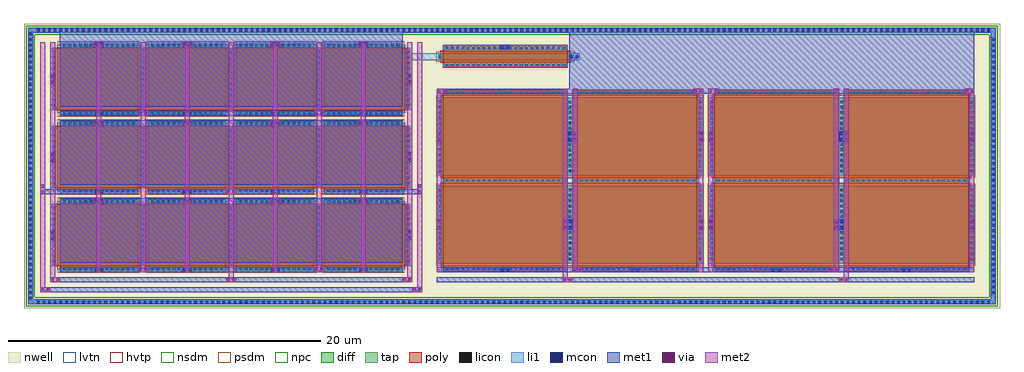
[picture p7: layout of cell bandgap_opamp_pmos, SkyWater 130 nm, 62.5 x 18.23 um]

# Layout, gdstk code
from math import pi, radians
import gdstk
lib = gdstk.Library(unit=1e-6, precision=5e-09)
def R(c, l, rs):  # rectangles x0, y0, x1, y1
    for r in rs: c.add(gdstk.rectangle(r[:2], r[2:], *l))
def A(c, l, x, y, w, h, nx, ny, dx, dy):  # array of equal rectangles
    R(c, l, [(x+i*dx, y+j*dy, x+i*dx+w, y+j*dy+h) for i in range(nx) for j in range(ny)])
nwell = (64, 20)
diff = (65, 20)
tap = (65, 44)
poly = (66, 20)
licon = (66, 44)
li1 = (67, 20)
mcon = (67, 44)
met1 = (68, 20)
via = (68, 44)
met2 = (69, 20)
hvtp = (78, 44)
nsdm = (93, 44)
psdm = (94, 20)
npc = (95, 20)
lvtn = (125, 44)

sky130_fd_pr__pfet_01v8_ = lib.new_cell('sky130_fd_pr__pfet_01v8_lvt_5-0_8-0')
R(sky130_fd_pr__pfet_01v8_, nwell, [(-4.47,-3,4.47,3)])
R(sky130_fd_pr__pfet_01v8_, diff, [(-4.29,-2.5,4.29,2.5)])
R(sky130_fd_pr__pfet_01v8_, poly, [(-4,-2.985,4,2.985)])
A(sky130_fd_pr__pfet_01v8_, licon, -3.825, -2.905, 0.17, 0.17, 23, 2, 0.34, 5.64)
A(sky130_fd_pr__pfet_01v8_, licon, -4.23, -2.295, 0.17, 0.17, 1, 14, 0, 0.34)
A(sky130_fd_pr__pfet_01v8_, licon, 4.06, -2.295, 0.17, 0.17, 1, 14, 0, 0.34)
R(sky130_fd_pr__pfet_01v8_, li1, [(-4,-2.905,4,-2.735), (-4.23,-2.52,-4.06,2.52), (4.06,-2.52,4.23,2.52), (-4,2.735,4,2.905)])
R(sky130_fd_pr__pfet_01v8_, psdm, [(-4.415,-2.625,4.415,2.625)])
R(sky130_fd_pr__pfet_01v8_, npc, [(-3.925,-3.005,3.925,-2.635), (-3.925,2.635,3.925,3.005)])
R(sky130_fd_pr__pfet_01v8_, lvtn, [(-4.18,-2.68,4.18,2.68)])

c_sky130_fd_pr__pfet_01v8_ = lib.new_cell('sky130_fd_pr__pfet_01v8_hvt_0-42_8-0')
R(c_sky130_fd_pr__pfet_01v8_, nwell, [(-4.47,-0.71,4.47,0.71)])
R(c_sky130_fd_pr__pfet_01v8_, diff, [(-4.29,-0.21,4.29,0.21)])
R(c_sky130_fd_pr__pfet_01v8_, poly, [(-4,-0.695,4,0.695)])
A(c_sky130_fd_pr__pfet_01v8_, licon, -3.825, -0.615, 0.17, 0.17, 23, 2, 0.34, 1.06)
R(c_sky130_fd_pr__pfet_01v8_, licon, [(-4.23,-0.085,-4.06,0.085), (4.06,-0.085,4.23,0.085)])
R(c_sky130_fd_pr__pfet_01v8_, li1, [(-4,-0.615,4,-0.445), (-4.23,-0.23,-4.06,0.23), (4.06,-0.23,4.23,0.23), (-4,0.445,4,0.615)])
R(c_sky130_fd_pr__pfet_01v8_, hvtp, [(-4.18,-0.39,4.18,0.39)])
R(c_sky130_fd_pr__pfet_01v8_, psdm, [(-4.415,-0.335,4.415,0.335)])
R(c_sky130_fd_pr__pfet_01v8_, npc, [(-3.925,-0.715,3.925,-0.345), (-3.925,0.345,3.925,0.715)])

c_sky130_fd_pr__pfet_01v8__ = lib.new_cell('sky130_fd_pr__pfet_01v8_lvt_mhwgxx')
R(c_sky130_fd_pr__pfet_01v8__, nwell, [(-2.47,-3,2.47,3)])
R(c_sky130_fd_pr__pfet_01v8__, diff, [(-2.29,-2.5,2.29,2.5)])
R(c_sky130_fd_pr__pfet_01v8__, poly, [(-2,-2.985,2,2.985)])
A(c_sky130_fd_pr__pfet_01v8__, licon, -1.785, -2.905, 0.17, 0.17, 11, 2, 0.34, 5.64)
A(c_sky130_fd_pr__pfet_01v8__, licon, -2.23, -2.295, 0.17, 0.17, 1, 14, 0, 0.34)
A(c_sky130_fd_pr__pfet_01v8__, licon, 2.06, -2.295, 0.17, 0.17, 1, 14, 0, 0.34)
R(c_sky130_fd_pr__pfet_01v8__, li1, [(-2,-2.905,2,-2.735), (-2.23,-2.52,-2.06,2.52), (2.06,-2.52,2.23,2.52), (-2,2.735,2,2.905)])
R(c_sky130_fd_pr__pfet_01v8__, psdm, [(-2.415,-2.625,2.415,2.625)])
R(c_sky130_fd_pr__pfet_01v8__, npc, [(-1.885,-3.005,1.885,-2.635), (-1.885,2.635,1.885,3.005)])
R(c_sky130_fd_pr__pfet_01v8__, lvtn, [(-2.18,-2.68,2.18,2.68)])

contact = lib.new_cell('contact')
R(contact, li1, [(-0.165,-0.345,0.165,0.345)])
R(contact, mcon, [(-0.085,-0.265,0.085,-0.095), (-0.085,0.095,0.085,0.265)])
R(contact, met1, [(-0.145,-0.325,0.145,0.325)])

contact_15 = lib.new_cell('contact$15')
R(contact_15, met1, [(-0.16,-0.32,0.16,0.32)])
R(contact_15, via, [(-0.075,-0.235,0.075,-0.085), (-0.075,0.085,0.075,0.235)])
R(contact_15, met2, [(-0.16,-0.32,0.16,0.32)])

bandgap_opamp_pmos = lib.new_cell('bandgap_opamp_pmos')
R(bandgap_opamp_pmos, nwell, [(-1.795,-2.22,60.7,16.01)])
A(bandgap_opamp_pmos, licon, -0.965, -1.895, 0.17, 0.17, 170, 2, 0.36, 17.4)
A(bandgap_opamp_pmos, licon, -1.46, -1.64, 0.17, 0.17, 1, 48, 0, 0.36)
A(bandgap_opamp_pmos, licon, 60.195, -1.3, 0.17, 0.17, 1, 46, 0, 0.36)
A(bandgap_opamp_pmos, li1, 0.485, 0.08, 5.04, 0.33, 3, 2, 5.64, 4.43)
A(bandgap_opamp_pmos, li1, -0.12, 0.47, 0.25, 4, 1, 3, 0, 5)
A(bandgap_opamp_pmos, li1, 22.8, 0.47, 0.25, 4, 1, 3, 0, 5)
A(bandgap_opamp_pmos, li1, 24.635, 0.625, 0.33, 5.04, 3, 2, 8.37, 5.64)
A(bandgap_opamp_pmos, li1, 42.005, 0.625, 0.33, 5.04, 3, 2, 8.37, 5.64)
A(bandgap_opamp_pmos, li1, 0.485, 5.08, 5.04, 0.33, 3, 2, 5.64, 4.43)
A(bandgap_opamp_pmos, li1, 0.485, 10.08, 5.04, 0.33, 3, 2, 5.64, 4.43)
R(bandgap_opamp_pmos, li1, [(17.405,0.08,22.45,0.41), (25.025,0.08,33.025,0.41), (33.315,0.08,41.315,0.41), (42.395,0.08,50.395,0.41), (50.685,0.08,58.685,0.41), (17.405,4.51,22.45,4.84), (17.405,5.08,22.45,5.41), (17.405,9.51,22.45,9.84), (17.405,10.08,22.45,10.41), (23.05,13.66,24.965,14.12), (33.255,13.66,33.775,14.12), (25.025,14.335,33.025,14.665), (17.405,14.51,22.45,14.84)])
A(bandgap_opamp_pmos, mcon, -0.965, -1.895, 0.17, 0.17, 170, 2, 0.36, 17.4)
A(bandgap_opamp_pmos, mcon, -1.46, -1.64, 0.17, 0.17, 1, 48, 0, 0.36)
A(bandgap_opamp_pmos, mcon, 60.195, -1.3, 0.17, 0.17, 1, 46, 0, 0.36)
A(bandgap_opamp_pmos, met1, 0.485, 0.7, 21.965, 4.12, 1, 3, 0, 5)
A(bandgap_opamp_pmos, met1, -0.115, 2.125, 0.32, 0.65, 1, 3, 0, 5)
A(bandgap_opamp_pmos, met1, 22.73, 2.145, 0.32, 0.65, 1, 3, 0, 5)
R(bandgap_opamp_pmos, met1, [(24.645,2.82,24.965,3.47), (32.69,2.82,33.315,3.47), (41.375,2.82,41.695,3.47), (42.015,2.82,42.335,3.47), (50.06,2.82,50.685,3.47), (58.745,2.82,59.065,3.47), (24.645,8.46,24.965,9.11), (33.025,8.46,33.65,9.11), (41.375,8.46,41.695,9.11), (42.015,8.46,42.335,9.11), (50.395,8.46,51.02,9.11), (58.745,8.46,59.065,9.11), (33.105,11.84,59.065,15.43), (0.485,14.82,22.45,15.43)])
bandgap_opamp_pmos.add(gdstk.FlexPath([(-1.535,15.59),(60.28,15.59),(60.28,-1.8),(-1.375,-1.8),(-1.375,15.75)], 0.32, ends="flush", simple_path=True, layer=67, datatype=20))  # li1
bandgap_opamp_pmos.add(gdstk.FlexPath([(6.12,5.26),(16.805,5.26)], 0.32, ends="flush", simple_path=True, layer=68, datatype=20))  # met1
bandgap_opamp_pmos.add(gdstk.FlexPath([(0.485,0.26),(22.45,0.26)], 0.32, ends="flush", simple_path=True, layer=68, datatype=20))  # met1
bandgap_opamp_pmos.add(gdstk.FlexPath([(0.485,10.26),(22.45,10.26)], 0.32, ends="flush", simple_path=True, layer=68, datatype=20))  # met1
bandgap_opamp_pmos.add(gdstk.FlexPath([(-0.755,5.26),(5.525,5.26)], 0.32, ends="flush", simple_path=True, layer=68, datatype=20))  # met1
bandgap_opamp_pmos.add(gdstk.FlexPath([(17.405,5.26),(23.69,5.26)], 0.32, ends="flush", simple_path=True, layer=68, datatype=20))  # met1
bandgap_opamp_pmos.add(gdstk.FlexPath([(-0.115,-0.38),(23.05,-0.38)], 0.32, ends="flush", simple_path=True, layer=68, datatype=20))  # met1
bandgap_opamp_pmos.add(gdstk.FlexPath([(-0.755,-1.02),(23.69,-1.02)], 0.32, ends="flush", simple_path=True, layer=68, datatype=20))  # met1
bandgap_opamp_pmos.add(gdstk.FlexPath([(24.645,0.25),(59.065,0.25)], 0.32, ends="flush", simple_path=True, layer=68, datatype=20))  # met1
bandgap_opamp_pmos.add(gdstk.FlexPath([(24.645,11.68),(59.065,11.68)], 0.32, ends="flush", simple_path=True, layer=68, datatype=20))  # met1
bandgap_opamp_pmos.add(gdstk.FlexPath([(24.645,-0.39),(59.065,-0.39)], 0.32, ends="flush", simple_path=True, layer=68, datatype=20))  # met1
bandgap_opamp_pmos.add(gdstk.FlexPath([(-1.535,15.59),(60.28,15.59),(60.28,-1.8),(-1.375,-1.8),(-1.375,15.75)], 0.32, ends="flush", simple_path=True, layer=68, datatype=20))  # met1
bandgap_opamp_pmos.add(gdstk.FlexPath([(5.825,14.82),(5.825,0.1)], 0.32, ends="flush", simple_path=True, layer=69, datatype=20))  # met2
bandgap_opamp_pmos.add(gdstk.FlexPath([(11.465,14.82),(11.465,-0.54)], 0.32, ends="flush", simple_path=True, layer=69, datatype=20))  # met2
bandgap_opamp_pmos.add(gdstk.FlexPath([(17.105,14.82),(17.105,0.1)], 0.32, ends="flush", simple_path=True, layer=69, datatype=20))  # met2
bandgap_opamp_pmos.add(gdstk.FlexPath([(22.89,14.82),(22.89,-0.54)], 0.32, ends="flush", simple_path=True, layer=69, datatype=20))  # met2
bandgap_opamp_pmos.add(gdstk.FlexPath([(0.045,14.82),(0.045,-0.54)], 0.32, ends="flush", simple_path=True, layer=69, datatype=20))  # met2
bandgap_opamp_pmos.add(gdstk.FlexPath([(23.53,14.82),(23.53,-1.18)], 0.32, ends="flush", simple_path=True, layer=69, datatype=20))  # met2
bandgap_opamp_pmos.add(gdstk.FlexPath([(-0.595,14.82),(-0.595,-1.18)], 0.32, ends="flush", simple_path=True, layer=69, datatype=20))  # met2
bandgap_opamp_pmos.add(gdstk.FlexPath([(3.005,14.82),(3.005,0.1)], 0.32, ends="flush", simple_path=True, layer=69, datatype=20))  # met2
bandgap_opamp_pmos.add(gdstk.FlexPath([(8.645,14.82),(8.645,0.1)], 0.32, ends="flush", simple_path=True, layer=69, datatype=20))  # met2
bandgap_opamp_pmos.add(gdstk.FlexPath([(14.285,14.82),(14.285,0.1)], 0.32, ends="flush", simple_path=True, layer=69, datatype=20))  # met2
bandgap_opamp_pmos.add(gdstk.FlexPath([(19.925,14.82),(19.925,0.1)], 0.32, ends="flush", simple_path=True, layer=69, datatype=20))  # met2
bandgap_opamp_pmos.add(gdstk.FlexPath([(50.22,11.84),(50.22,0.09)], 0.32, ends="flush", simple_path=True, layer=69, datatype=20))  # met2
bandgap_opamp_pmos.add(gdstk.FlexPath([(32.85,11.84),(32.85,-0.55)], 0.32, ends="flush", simple_path=True, layer=69, datatype=20))  # met2
bandgap_opamp_pmos.add(gdstk.FlexPath([(41.535,11.84),(41.535,0.09)], 0.32, ends="flush", simple_path=True, layer=69, datatype=20))  # met2
bandgap_opamp_pmos.add(gdstk.FlexPath([(42.175,11.84),(42.175,0.09)], 0.32, ends="flush", simple_path=True, layer=69, datatype=20))  # met2
bandgap_opamp_pmos.add(gdstk.FlexPath([(58.905,11.84),(58.905,0.09)], 0.32, ends="flush", simple_path=True, layer=69, datatype=20))  # met2
bandgap_opamp_pmos.add(gdstk.FlexPath([(24.805,11.84),(24.805,0.09)], 0.32, ends="flush", simple_path=True, layer=69, datatype=20))  # met2
bandgap_opamp_pmos.add(gdstk.FlexPath([(33.49,11.84),(33.49,0.09)], 0.32, ends="flush", simple_path=True, layer=69, datatype=20))  # met2
bandgap_opamp_pmos.add(gdstk.FlexPath([(50.86,11.84),(50.86,-0.55)], 0.32, ends="flush", simple_path=True, layer=69, datatype=20))  # met2
bandgap_opamp_pmos.add(gdstk.FlexPath([(-1.65,15.59),(60.28,15.59),(60.28,-1.8),(-1.375,-1.8),(-1.375,15.865)], 0.55, ends="flush", simple_path=True, layer=93, datatype=44))  # nsdm
bandgap_opamp_pmos.add(gdstk.FlexPath([(-1.535,15.59),(60.28,15.59),(60.28,-1.8),(-1.375,-1.8),(-1.375,15.75)], 0.32, ends="flush", simple_path=True, layer=65, datatype=44))  # tap
r = gdstk.Reference(sky130_fd_pr__pfet_01v8_, (46.395,3.145)); r.repetition = gdstk.Repetition(2, 2, v1=(8.29,0), v2=(0,5.64)); bandgap_opamp_pmos.add(r)
bandgap_opamp_pmos.add(gdstk.Reference(c_sky130_fd_pr__pfet_01v8_, (29.025,13.89)))
r = gdstk.Reference(c_sky130_fd_pr__pfet_01v8__, (19.925,2.47), rotation=pi/2); r.repetition = gdstk.Repetition(3, 4, v1=(0,5), v2=(-5.64,0)); bandgap_opamp_pmos.add(r)
r = gdstk.Reference(sky130_fd_pr__pfet_01v8_, (29.025,3.145)); r.repetition = gdstk.Repetition(2, 2, v1=(8.29,0), v2=(0,5.64)); bandgap_opamp_pmos.add(r)
bandgap_opamp_pmos.add(gdstk.Reference(contact, (29.025,0.245), rotation=pi/2))
bandgap_opamp_pmos.add(gdstk.Reference(contact, (29.015,14.5), rotation=pi/2))
bandgap_opamp_pmos.add(gdstk.Reference(contact, (50.54,8.785)))
bandgap_opamp_pmos.add(gdstk.Reference(contact, (42.17,8.785)))
bandgap_opamp_pmos.add(gdstk.Reference(contact, (41.54,8.785)))
bandgap_opamp_pmos.add(gdstk.Reference(contact_15, (41.535,8.785), rotation=pi))
bandgap_opamp_pmos.add(gdstk.Reference(contact_15, (42.175,8.785), rotation=pi))
bandgap_opamp_pmos.add(gdstk.Reference(contact_15, (50.86,8.785), rotation=pi))
bandgap_opamp_pmos.add(gdstk.Reference(contact_15, (58.905,8.785), rotation=pi))
bandgap_opamp_pmos.add(gdstk.Reference(contact_15, (33.49,8.785), rotation=pi))
bandgap_opamp_pmos.add(gdstk.Reference(contact, (33.17,8.785)))
bandgap_opamp_pmos.add(gdstk.Reference(contact_15, (41.375,11.68), rotation=pi/2))
bandgap_opamp_pmos.add(gdstk.Reference(contact_15, (42.335,11.68), rotation=pi/2))
bandgap_opamp_pmos.add(gdstk.Reference(contact_15, (58.745,11.68), rotation=pi/2))
bandgap_opamp_pmos.add(gdstk.Reference(contact, (58.91,8.785)))
bandgap_opamp_pmos.add(gdstk.Reference(contact, (33.43,13.89), rotation=pi/2))
bandgap_opamp_pmos.add(gdstk.Reference(contact, (0.045,12.45), rotation=pi))
bandgap_opamp_pmos.add(gdstk.Reference(contact_15, (22.89,12.47)))
bandgap_opamp_pmos.add(gdstk.Reference(contact, (22.885,12.47)))
bandgap_opamp_pmos.add(gdstk.Reference(contact_15, (22.89,7.47)))
bandgap_opamp_pmos.add(gdstk.Reference(contact, (22.885,7.47)))
bandgap_opamp_pmos.add(gdstk.Reference(contact_15, (3.005,9.66), rotation=pi/2))
bandgap_opamp_pmos.add(gdstk.Reference(contact_15, (8.645,9.66), rotation=pi/2))
bandgap_opamp_pmos.add(gdstk.Reference(contact_15, (14.285,9.66), rotation=pi/2))
bandgap_opamp_pmos.add(gdstk.Reference(contact_15, (19.925,9.66), rotation=pi/2))
bandgap_opamp_pmos.add(gdstk.Reference(contact_15, (3.005,14.66), rotation=pi/2))
bandgap_opamp_pmos.add(gdstk.Reference(contact_15, (8.645,14.66), rotation=pi/2))
bandgap_opamp_pmos.add(gdstk.Reference(contact_15, (14.285,14.66), rotation=pi/2))
bandgap_opamp_pmos.add(gdstk.Reference(contact_15, (19.925,14.66), rotation=pi/2))
bandgap_opamp_pmos.add(gdstk.Reference(contact, (8.645,10.245), rotation=pi/2))
bandgap_opamp_pmos.add(gdstk.Reference(contact, (14.285,10.245), rotation=pi/2))
bandgap_opamp_pmos.add(gdstk.Reference(contact, (24.8,8.785)))
bandgap_opamp_pmos.add(gdstk.Reference(contact, (19.925,10.245), rotation=pi/2))
bandgap_opamp_pmos.add(gdstk.Reference(contact, (3.005,9.675), rotation=pi/2))
bandgap_opamp_pmos.add(gdstk.Reference(contact, (8.645,9.675), rotation=pi/2))
bandgap_opamp_pmos.add(gdstk.Reference(contact, (14.285,9.675), rotation=pi/2))
bandgap_opamp_pmos.add(gdstk.Reference(contact, (19.925,9.675), rotation=pi/2))
bandgap_opamp_pmos.add(gdstk.Reference(contact, (3.005,14.675), rotation=pi/2))
bandgap_opamp_pmos.add(gdstk.Reference(contact, (8.645,14.675), rotation=pi/2))
bandgap_opamp_pmos.add(gdstk.Reference(contact, (14.285,14.675), rotation=pi/2))
bandgap_opamp_pmos.add(gdstk.Reference(contact, (19.925,14.675), rotation=pi/2))
bandgap_opamp_pmos.add(gdstk.Reference(contact_15, (24.805,8.785), rotation=pi))
bandgap_opamp_pmos.add(gdstk.Reference(contact_15, (5.825,10.26), rotation=pi/2))
bandgap_opamp_pmos.add(gdstk.Reference(contact_15, (24.965,11.68), rotation=pi/2))
bandgap_opamp_pmos.add(gdstk.Reference(contact_15, (17.105,10.26), rotation=pi/2))
bandgap_opamp_pmos.add(gdstk.Reference(contact, (3.005,10.245), rotation=pi/2))
bandgap_opamp_pmos.add(gdstk.Reference(contact_15, (0.045,7.45), rotation=pi))
bandgap_opamp_pmos.add(gdstk.Reference(contact_15, (0.045,12.45), rotation=pi))
bandgap_opamp_pmos.add(gdstk.Reference(contact, (0.045,7.45), rotation=pi))
bandgap_opamp_pmos.add(gdstk.Reference(contact_15, (14.285,4.66), rotation=pi/2))
bandgap_opamp_pmos.add(gdstk.Reference(contact_15, (19.925,4.66), rotation=pi/2))
bandgap_opamp_pmos.add(gdstk.Reference(contact, (19.925,0.245), rotation=pi/2))
bandgap_opamp_pmos.add(gdstk.Reference(contact_15, (11.465,5.26), rotation=pi/2))
bandgap_opamp_pmos.add(gdstk.Reference(contact_15, (-0.595,5.42)))
bandgap_opamp_pmos.add(gdstk.Reference(contact_15, (5.825,0.26), rotation=pi/2))
bandgap_opamp_pmos.add(gdstk.Reference(contact_15, (23.53,5.42)))
bandgap_opamp_pmos.add(gdstk.Reference(contact, (3.005,4.675), rotation=pi/2))
bandgap_opamp_pmos.add(gdstk.Reference(contact, (8.645,4.675), rotation=pi/2))
bandgap_opamp_pmos.add(gdstk.Reference(contact_15, (17.105,0.26), rotation=pi/2))
bandgap_opamp_pmos.add(gdstk.Reference(contact, (24.8,3.145)))
bandgap_opamp_pmos.add(gdstk.Reference(contact_15, (0.205,-0.38), rotation=pi/2))
bandgap_opamp_pmos.add(gdstk.Reference(contact_15, (-0.435,-1.02), rotation=pi/2))
bandgap_opamp_pmos.add(gdstk.Reference(contact_15, (22.73,-0.38), rotation=pi/2))
bandgap_opamp_pmos.add(gdstk.Reference(contact_15, (23.37,-1.02), rotation=pi/2))
bandgap_opamp_pmos.add(gdstk.Reference(contact, (14.285,4.675), rotation=pi/2))
bandgap_opamp_pmos.add(gdstk.Reference(contact_15, (11.465,-0.38), rotation=pi/2))
bandgap_opamp_pmos.add(gdstk.Reference(contact_15, (0.045,2.45), rotation=pi))
bandgap_opamp_pmos.add(gdstk.Reference(contact, (0.045,2.45), rotation=pi))
bandgap_opamp_pmos.add(gdstk.Reference(contact, (19.925,4.675), rotation=pi/2))
bandgap_opamp_pmos.add(gdstk.Reference(contact, (3.005,5.245), rotation=pi/2))
bandgap_opamp_pmos.add(gdstk.Reference(contact, (8.645,5.245), rotation=pi/2))
bandgap_opamp_pmos.add(gdstk.Reference(contact, (14.285,5.245), rotation=pi/2))
bandgap_opamp_pmos.add(gdstk.Reference(contact_15, (24.805,3.145), rotation=pi))
bandgap_opamp_pmos.add(gdstk.Reference(contact, (19.925,5.245), rotation=pi/2))
bandgap_opamp_pmos.add(gdstk.Reference(contact, (3.005,0.245), rotation=pi/2))
bandgap_opamp_pmos.add(gdstk.Reference(contact, (8.645,0.245), rotation=pi/2))
bandgap_opamp_pmos.add(gdstk.Reference(contact_15, (22.89,2.47)))
bandgap_opamp_pmos.add(gdstk.Reference(contact, (14.285,0.245), rotation=pi/2))
bandgap_opamp_pmos.add(gdstk.Reference(contact, (22.885,2.47)))
bandgap_opamp_pmos.add(gdstk.Reference(contact_15, (3.005,4.66), rotation=pi/2))
bandgap_opamp_pmos.add(gdstk.Reference(contact_15, (8.645,4.66), rotation=pi/2))
bandgap_opamp_pmos.add(gdstk.Reference(contact_15, (41.535,3.145), rotation=pi))
bandgap_opamp_pmos.add(gdstk.Reference(contact_15, (42.175,3.145), rotation=pi))
bandgap_opamp_pmos.add(gdstk.Reference(contact, (50.54,3.145)))
bandgap_opamp_pmos.add(gdstk.Reference(contact, (42.17,3.145)))
bandgap_opamp_pmos.add(gdstk.Reference(contact, (37.315,0.245), rotation=pi/2))
bandgap_opamp_pmos.add(gdstk.Reference(contact, (46.395,0.245), rotation=pi/2))
bandgap_opamp_pmos.add(gdstk.Reference(contact, (54.685,0.245), rotation=pi/2))
bandgap_opamp_pmos.add(gdstk.Reference(contact_15, (33.65,0.25), rotation=pi/2))
bandgap_opamp_pmos.add(gdstk.Reference(contact_15, (33.01,-0.39), rotation=pi/2))
bandgap_opamp_pmos.add(gdstk.Reference(contact_15, (50.06,0.25), rotation=pi/2))
bandgap_opamp_pmos.add(gdstk.Reference(contact_15, (50.7,-0.39), rotation=pi/2))
bandgap_opamp_pmos.add(gdstk.Reference(contact, (41.54,3.145)))
bandgap_opamp_pmos.add(gdstk.Reference(contact_15, (50.22,3.145), rotation=pi))
bandgap_opamp_pmos.add(gdstk.Reference(contact, (33.17,3.145)))
bandgap_opamp_pmos.add(gdstk.Reference(contact_15, (58.905,3.145), rotation=pi))
bandgap_opamp_pmos.add(gdstk.Reference(contact, (58.91,3.145)))
bandgap_opamp_pmos.add(gdstk.Reference(contact_15, (32.85,3.145), rotation=pi))

lib.write_gds('bandgap_opamp_pmos.gds')
